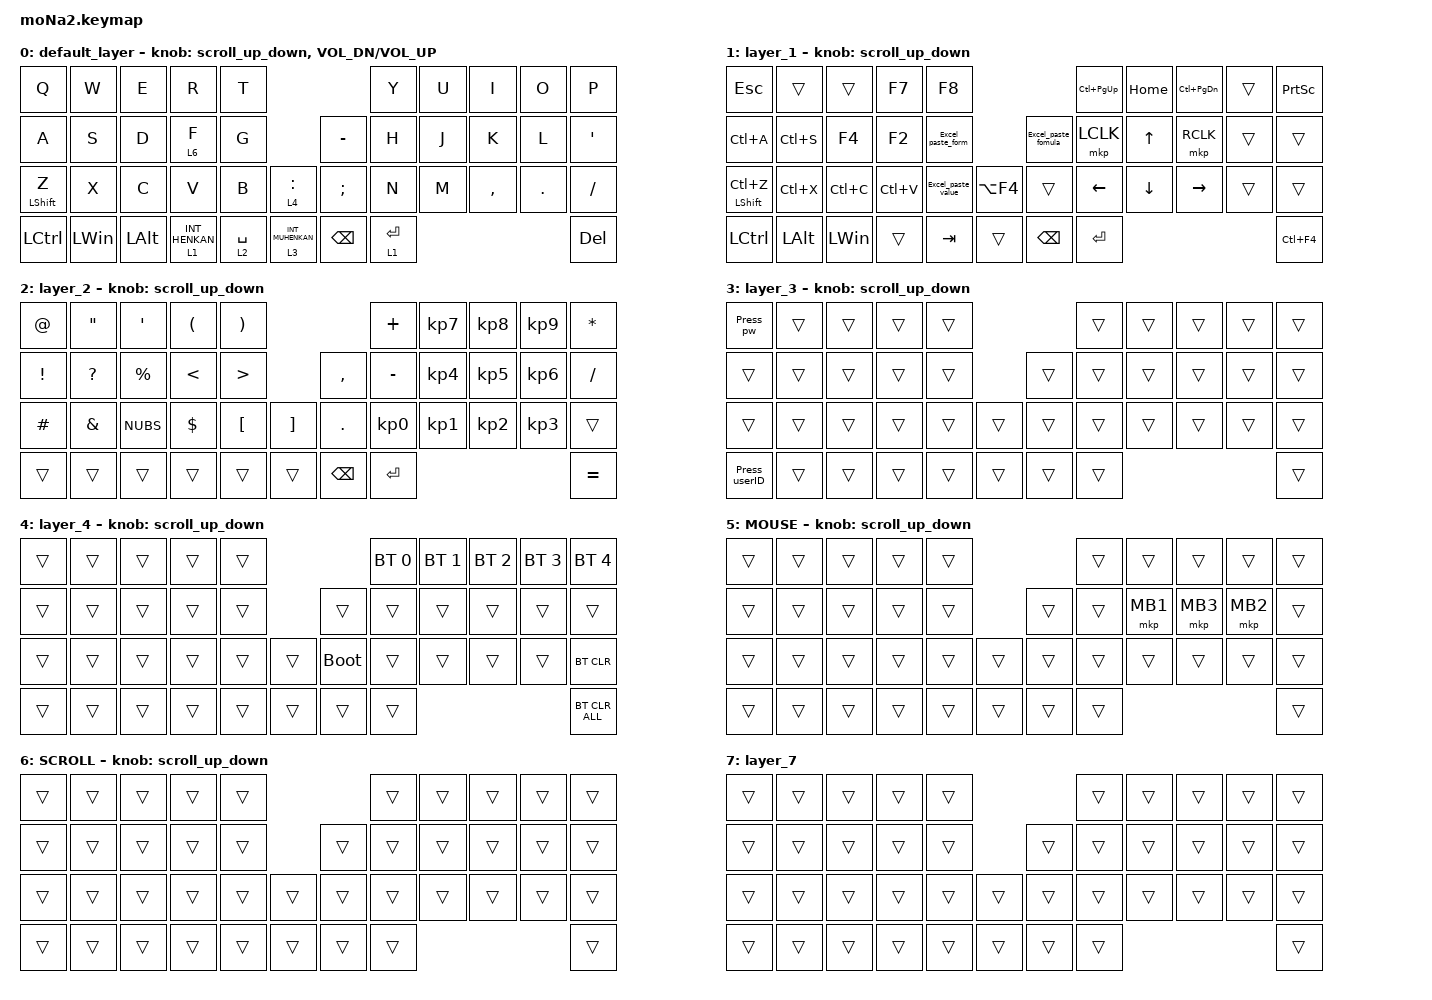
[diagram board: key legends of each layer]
#include <behaviors.dtsi>
#include <dt-bindings/zmk/bt.h>
#include <dt-bindings/zmk/keys.h>
#include <dt-bindings/zmk/pointing.h>

#define ZMK_POINTING_DEFAULT_SCRL_VAL 100
#define MOUSE 5
#define SCROLL 6

&mt {
    flavor = "balanced";
    quick-tap-ms = <0>;
};

/ {
    combos { compatible = "zmk,combos"; };

    macros {
        to_layer_0: to_layer_0 {
            compatible = "zmk,behavior-macro-one-param";
            #binding-cells = <1>;
            bindings = <&to 0 &macro_param_1to1 &kp MACRO_PLACEHOLDER>;
            label = "TO_LAYER_0";
        };

        Excel_paste_value: Excel_paste_value {
            compatible = "zmk,behavior-macro";
            #binding-cells = <0>;
            bindings = <&kp LEFT_ALT &kp H &kp V &kp V>;
            label = "EXCEL_PASTE_VALUE";
        };

        Excel_paste_fomula: Excel_pasete_fomula {
            compatible = "zmk,behavior-macro";
            #binding-cells = <0>;
            bindings = <&kp LEFT_ALT &kp H &kp V &kp F>;
            label = "EXCEL_PASETE_FOMULA";
        };

        Excel_paste_form: Excel_paste_form {
            compatible = "zmk,behavior-macro";
            #binding-cells = <0>;
            bindings = <&kp LEFT_ALT &kp H &kp V &kp R>;
            label = "EXCEL_PASTE_FORM";
        };

        Press_pw: Press_password {
            compatible = "zmk,behavior-macro";
            #binding-cells = <0>;
            bindings = <&kp LS(S) &kp Y &kp U &kp H &kp E &kp I &kp AT &kp N1 &kp N2 &kp N3>;
            label = "PRESS_PASSWORD";
        };

        Press_userID: Press_userID {
            compatible = "zmk,behavior-macro";
            #binding-cells = <0>;
            bindings = <&kp LS(S) &kp H &kp U &kp H &kp E &kp I &kp DOT &kp LS(H) &kp I &kp S &kp A &kp M &kp A &kp T &kp S &kp U &kp AT &kp K &kp A &kp G &kp O &kp M &kp E &kp DOT &kp C &kp O &kp M>;
            label = "PRESS_USERID";
        };
    };

    behaviors {
        lt_to_layer_0: lt_to_layer_0 {
            compatible = "zmk,behavior-hold-tap";
            label = "LAYER_TAP_TO_0";
            bindings = <&mo>, <&to_layer_0>;

            #binding-cells = <2>;
            tapping-term-ms = <200>;
        };

        scroll_up_down: behavior_sensor_rotate_mouse_wheel_up_down {
            compatible = "zmk,behavior-sensor-rotate";
            #sensor-binding-cells = <0>;
            bindings = <&msc SCRL_UP>, <&msc SCRL_DOWN>;

            tap-ms = <20>;
        };
    };

    keymap {
        compatible = "zmk,keymap";

        default_layer {
            bindings = <
&kp Q             &kp W         &kp E         &kp R             &kp T                                             &kp Y        &kp U  &kp I      &kp O    &kp P
&kp A             &kp S         &kp D         &lt 6 F           &kp G                              &kp MINUS      &kp H        &kp J  &kp K      &kp L    &kp SQT
&mt LEFT_SHIFT Z  &kp X         &kp C         &kp V             &kp B        &lt 4 COLON           &kp SEMICOLON  &kp N        &kp M  &kp COMMA  &kp DOT  &kp SLASH
&kp LCTRL         &kp LEFT_WIN  &kp LEFT_ALT  &lt 1 INT_HENKAN  &lt 2 SPACE  &lt 3 INT_MUHENKAN    &kp BACKSPACE  &lt 1 ENTER                             &kp DEL
            >;

            sensor-bindings =
                <&scroll_up_down>,
                <&inc_dec_kp C_VOL_DN C_VOL_UP>;
        };

        layer_1 {
            bindings = <
&kp ESCAPE            &trans        &trans        &kp F7     &kp F8                                                 &kp LC(PAGE_UP)  &kp HOME  &kp LC(PAGE_DOWN)  &trans  &kp PRINTSCREEN
&kp LC(A)             &kp LC(S)     &kp F4        &kp F2     &Excel_paste_form                 &Excel_paste_fomula  &mkp LCLK        &kp UP    &mkp RCLK          &trans  &trans
&mt LEFT_SHIFT LC(Z)  &kp LC(X)     &kp LC(C)     &kp LC(V)  &Excel_paste_value  &kp LA(F4)    &trans               &kp LEFT         &kp DOWN  &kp RIGHT          &trans  &trans
&kp LCTRL             &kp LEFT_ALT  &kp LEFT_WIN  &trans     &kp TAB             &trans        &kp BACKSPACE        &kp ENTER                                             &kp LC(F4)
            >;

            sensor-bindings = <&scroll_up_down>;
        };

        layer_2 {
            bindings = <
&kp AT_SIGN      &kp DOUBLE_QUOTES  &kp SINGLE_QUOTE  &kp LEFT_PARENTHESIS  &kp RIGHT_PARENTHESIS                                      &kp PLUS         &kp KP_NUMBER_7  &kp KP_NUMBER_8  &kp KP_NUMBER_9  &kp ASTERISK
&kp EXCLAMATION  &kp QUESTION       &kp PERCENT       &kp LESS_THAN         &kp GREATER_THAN                            &kp COMMA      &kp MINUS        &kp KP_NUMBER_4  &kp KP_NUMBER_5  &kp KP_NUMBER_6  &kp SLASH
&kp HASH         &kp AMPERSAND      &kp NUBS          &kp DOLLAR            &kp LEFT_BRACKET       &kp RIGHT_BRACKET    &kp PERIOD     &kp KP_NUMBER_0  &kp KP_NUMBER_1  &kp KP_NUMBER_2  &kp KP_NUMBER_3  &trans
&trans           &trans             &trans            &trans                &trans                 &trans               &kp BACKSPACE  &kp ENTER                                                           &kp EQUAL
            >;

            sensor-bindings = <&scroll_up_down>;
        };

        layer_3 {
            bindings = <
&Press_pw      &trans  &trans  &trans  &trans                    &trans  &trans  &trans  &trans  &trans
&trans         &trans  &trans  &trans  &trans            &trans  &trans  &trans  &trans  &trans  &trans
&trans         &trans  &trans  &trans  &trans  &trans    &trans  &trans  &trans  &trans  &trans  &trans
&Press_userID  &trans  &trans  &trans  &trans  &trans    &trans  &trans                          &trans
            >;

            sensor-bindings = <&scroll_up_down>;
        };

        layer_4 {
            bindings = <
&trans  &trans  &trans  &trans  &trans                         &bt BT_SEL 0  &bt BT_SEL 1  &bt BT_SEL 2  &bt BT_SEL 3  &bt BT_SEL 4
&trans  &trans  &trans  &trans  &trans            &trans       &trans        &trans        &trans        &trans        &trans
&trans  &trans  &trans  &trans  &trans  &trans    &bootloader  &trans        &trans        &trans        &trans        &bt BT_CLR
&trans  &trans  &trans  &trans  &trans  &trans    &trans       &trans                                                  &bt BT_CLR_ALL
            >;

            sensor-bindings = <&scroll_up_down>;
        };

        MOUSE {
            bindings = <
&trans  &trans  &trans  &trans  &trans                    &trans  &trans    &trans    &trans    &trans
&trans  &trans  &trans  &trans  &trans            &trans  &trans  &mkp MB1  &mkp MB3  &mkp MB2  &trans
&trans  &trans  &trans  &trans  &trans  &trans    &trans  &trans  &trans    &trans    &trans    &trans
&trans  &trans  &trans  &trans  &trans  &trans    &trans  &trans                                &trans
            >;

            sensor-bindings = <&scroll_up_down>;
        };

        SCROLL {
            bindings = <
&trans  &trans  &trans  &trans  &trans                    &trans  &trans  &trans  &trans  &trans
&trans  &trans  &trans  &trans  &trans            &trans  &trans  &trans  &trans  &trans  &trans
&trans  &trans  &trans  &trans  &trans  &trans    &trans  &trans  &trans  &trans  &trans  &trans
&trans  &trans  &trans  &trans  &trans  &trans    &trans  &trans                          &trans
            >;

            sensor-bindings = <&scroll_up_down>;
        };

        layer_7 {
            bindings = <
&trans  &trans  &trans  &trans  &trans                    &trans  &trans  &trans  &trans  &trans
&trans  &trans  &trans  &trans  &trans            &trans  &trans  &trans  &trans  &trans  &trans
&trans  &trans  &trans  &trans  &trans  &trans    &trans  &trans  &trans  &trans  &trans  &trans
&trans  &trans  &trans  &trans  &trans  &trans    &trans  &trans                          &trans
            >;
        };
    };
};
